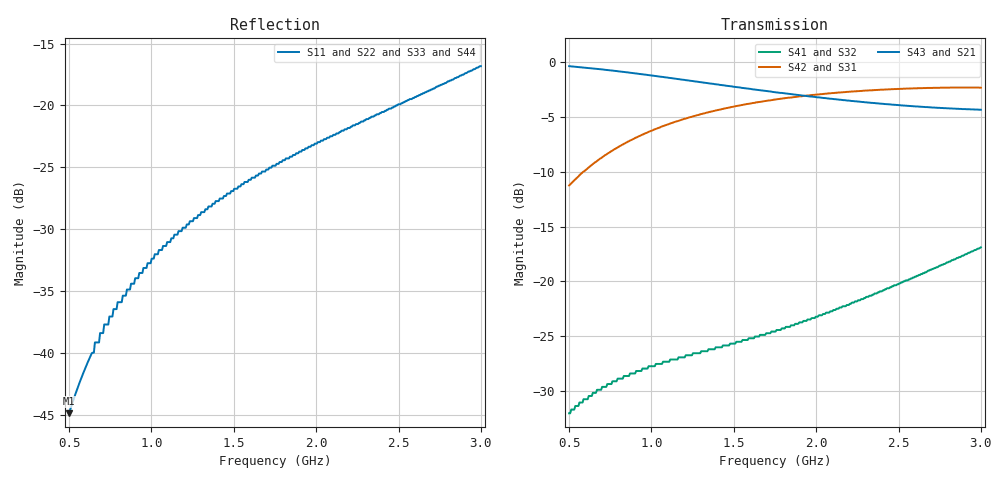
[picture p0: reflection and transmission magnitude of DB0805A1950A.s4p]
!	AVX THIN FILM OPERATION
!	0805 SIZE 3dB 90deg COUPLER P/N DB0805A1950AWTR
!	Created March 23 2003
!	Network Analyzer HP8720E S.07.64: Feb23, 2000 Serial No.US39172382
#	MHZ	S	MA	R	50
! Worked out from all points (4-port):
!   400 points, 500 MHz to 3 GHz, reference 50 ohm
!   strongest paths, dB at 500 MHz, 1.127 GHz, 1.753 GHz, 2.38 GHz, 3 GHz:
!     S43: -0.4, -1.5, -2.7, -3.8, -4.3
!     S21: -0.4, -1.5, -2.7, -3.8, -4.3
!     S42: -11.2, -5.5, -3.4, -2.5, -2.3
!     S31: -11.2, -5.5, -3.4, -2.5, -2.3
!     S41: -32.0, -27.1, -24.6, -21.0, -16.9
!     S32: -32.0, -27.1, -24.6, -21.0, -16.9
!   lowest |S11| = -44.9 dB at 500 MHz (marker M1), VSWR 1.01, Z = 49.6 + j0.344 ohm
!   |S11| at or under -10 dB: start of sweep to end of sweep
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500  0.005686 142.4  0.959 -18.4  0.274 71.6  0.025 72.1
     0.959 -18.4  0.005686 142.4  0.025 72.1  0.274 71.6
     0.274 71.6  0.025 72.1  0.005686 142.4  0.959 -18.4
     0.025 72.1  0.274 71.6  0.959 -18.4  0.005686 142.4
650.376  0.01 135.8  0.935 -23.5  0.346 66.5  0.031 68.1
         0.935 -23.5  0.01 135.8  0.031 68.1  0.346 66.5
         0.346 66.5  0.031 68.1  0.01 135.8  0.935 -23.5
         0.031 68.1  0.346 66.5  0.935 -23.5  0.01 135.8
656.642  0.011 135.6  0.934 -23.7  0.349 66.3  0.031 67.9
         0.934 -23.7  0.011 135.6  0.031 67.9  0.349 66.3
         0.349 66.3  0.031 67.9  0.011 135.6  0.934 -23.7
         0.031 67.9  0.349 66.3  0.934 -23.7  0.011 135.6
794.486  0.016 129.1  0.909 -28.2  0.408 61.8  0.036 65.1
         0.909 -28.2  0.016 129.1  0.036 65.1  0.408 61.8
         0.408 61.8  0.036 65.1  0.016 129.1  0.909 -28.2
         0.036 65.1  0.408 61.8  0.909 -28.2  0.016 129.1
1233.083  0.034 110.5  0.823 -40.7  0.561 49.4  0.046 61.7
          0.823 -40.7  0.034 110.5  0.046 61.7  0.561 49.4
          0.561 49.4  0.046 61.7  0.034 110.5  0.823 -40.7
          0.046 61.7  0.561 49.4  0.823 -40.7  0.034 110.5
2078.947  0.074 85.6  0.682 -58.9  0.721 31.6  0.072 68.4
          0.682 -58.9  0.074 85.6  0.072 68.4  0.721 31.6
          0.721 31.6  0.072 68.4  0.074 85.6  0.682 -58.9
          0.072 68.4  0.721 31.6  0.682 -58.9  0.074 85.6
3000  0.144 67.4  0.607 -75.2  0.765 17.3  0.143 67.6
      0.607 -75.2  0.144 67.4  0.143 67.6  0.765 17.3
      0.765 17.3  0.143 67.6  0.144 67.4  0.607 -75.2
      0.143 67.6  0.765 17.3  0.607 -75.2  0.144 67.4
